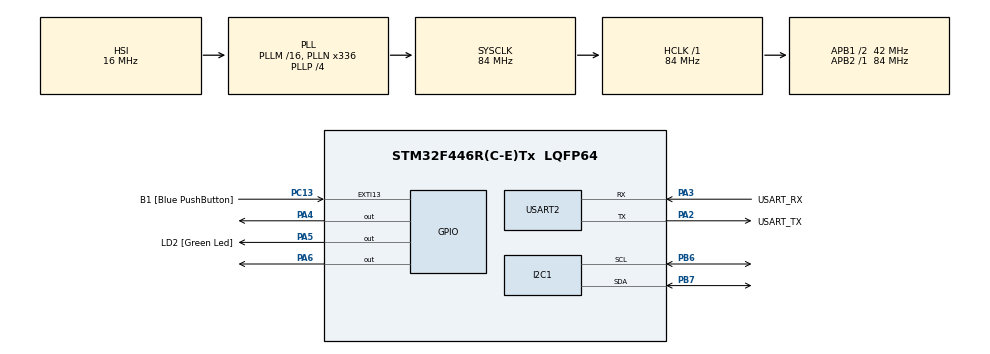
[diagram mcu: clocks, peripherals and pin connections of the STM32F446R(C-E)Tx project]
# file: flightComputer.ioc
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Mcu.Family=STM32F4
Mcu.Name=STM32F446R(C-E)Tx
Mcu.Package=LQFP64
NVIC.PriorityGroup=NVIC_PRIORITYGROUP_0
PA13.GPIO_Label=TMS
PA13.Mode=Serial_Wire
PA13.Signal=SYS_JTMS-SWDIO
PA14.GPIO_Label=TCK
PA14.Mode=Serial_Wire
PA14.Signal=SYS_JTCK-SWCLK
PA2.GPIO_Label=USART_TX
PA2.Mode=Asynchronous
PA2.Signal=USART2_TX
PA3.GPIO_Label=USART_RX
PA3.Mode=Asynchronous
PA3.Signal=USART2_RX
PA4.Signal=GPIO_Output
PA5.GPIO_Label=LD2 [Green Led]
PA5.Signal=GPIO_Output
PA6.Signal=GPIO_Output
PB3.GPIO_Label=SWO
PB3.Signal=SYS_JTDO-SWO
PB6.Mode=I2C
PB6.Signal=I2C1_SCL
PB7.Mode=I2C
PB7.Signal=I2C1_SDA
PC13.GPIO_Label=B1 [Blue PushButton]
PC13.GPIO_ModeDefaultEXTI=GPIO_MODE_IT_FALLING
PC13.Signal=GPXTI13
PC14-OSC32_IN.Mode=LSE-External-Oscillator
PC14-OSC32_IN.Signal=RCC_OSC32_IN
PC15-OSC32_OUT.Mode=LSE-External-Oscillator
PC15-OSC32_OUT.Signal=RCC_OSC32_OUT
PH0-OSC_IN.Mode=HSE-External-Oscillator
PH0-OSC_IN.Signal=RCC_OSC_IN
PH1-OSC_OUT.Mode=HSE-External-Oscillator
PH1-OSC_OUT.Signal=RCC_OSC_OUT
ProjectManager.HeapSize=0x200
ProjectManager.StackSize=0x400
ProjectManager.TargetToolchain=STM32CubeIDE
RCC.48MHZClocksFreq_Value=84000000
RCC.AHBFreq_Value=84000000
RCC.APB1CLKDivider=RCC_HCLK_DIV2
RCC.APB1Freq_Value=42000000
RCC.APB1TimFreq_Value=84000000
RCC.APB2Freq_Value=84000000
RCC.APB2TimFreq_Value=84000000
RCC.CortexFreq_Value=84000000
RCC.FLatency-AdvancedSettings=FLASH_LATENCY_2
RCC.HCLKFreq_Value=84000000
RCC.HSE_VALUE=8000000
RCC.HSI_VALUE=16000000
RCC.PLLN=336
RCC.PLLP=RCC_PLLP_DIV4
RCC.SYSCLKFreq_VALUE=84000000
RCC.SYSCLKSource=RCC_SYSCLKSOURCE_PLLCLK
RCC.USBFreq_Value=168000000
RCC.VCOOutputFreq_Value=336000000
USART2.VirtualMode=VM_ASYNC
board=NUCLEO-F446RE

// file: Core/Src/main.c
/* USER CODE BEGIN Header */
/**
  ******************************************************************************
  * @file           : main.c
  * @brief          : Main program body
  ******************************************************************************
  * @attention
  *
  * Copyright (c) 2025 STMicroelectronics.
  * All rights reserved.
  *
  * This software is licensed under terms that can be found in the LICENSE file
  * in the root directory of this software component.
  * If no LICENSE file comes with this software, it is provided AS-IS.
  *
  ******************************************************************************
  */
/* USER CODE END Header */
#include "main.h"
     // For I2C communication

/* USER CODE BEGIN Includes */
#include "yrt_ms5611.h"  // Barometer driver
#include "bno055.h"      // IMU driver
#include "stdio.h"       // For printf (UART debugging)
#include "usart.h"       // For UART
#include "i2c.h"
/* USER CODE END Includes */

I2C_HandleTypeDef hi2c1;

UART_HandleTypeDef huart2;

/* USER CODE BEGIN PV */
typedef enum {
    FIRING_STATE,
    LIFTOFF_STATE,
    ASCENDING_STATE,
    APOGEE_STATE,
    FALLOFF_STATE
} FlightState;

FlightState currentState = FIRING_STATE;
float previousAltitude = 0.0, currentAltitude, verticalVelocity;
/* USER CODE END PV */

void SystemClock_Config(void);
static void MX_GPIO_Init(void);
static void MX_USART2_UART_Init(void);
static void MX_I2C1_Init(void);

int main(void)
{

  /* MCU Configuration--------------------------------------------------------*/

  /* Reset of all peripherals, Initializes the Flash interface and the Systick. */
  HAL_Init();

  /* Configure the system clock */
  SystemClock_Config();

  /* Initialize all configured peripherals */
  MX_GPIO_Init();
  MX_USART2_UART_Init();
  MX_I2C1_Init();
  /* USER CODE BEGIN 2 */
  initSensors();
  /* USER CODE END 2 */

  /* Infinite loop */
  /* USER CODE BEGIN WHILE */
  while (1) {
      currentAltitude = MS5611_ReadAltitude();
      verticalVelocity = currentAltitude - previousAltitude;

      switch (currentState) {
          case FIRING_STATE:
              if (currentAltitude > 10.0) { // Detect liftoff
                  currentState = LIFTOFF_STATE;
                  printf("Liftoff detected!\r\n");
              }
              break;

          case LIFTOFF_STATE:
              if (verticalVelocity > 0.1) { // Ascending
                  currentState = ASCENDING_STATE;
                  printf("Rocket is ascending.\r\n");
              }
              break;

          case ASCENDING_STATE:
              if (verticalVelocity <= 0.0) { // Apogee detected
                  currentState = APOGEE_STATE;
                  HAL_GPIO_WritePin(GPIOA, GPIO_PIN_4, GPIO_PIN_SET); // Deploy drift parachute
                  printf("Apogee reached. Drift parachute deployed!\r\n");
              }
              break;

          case APOGEE_STATE:
              if (currentAltitude < 300.0) { // Main parachute deployment threshold
                  currentState = FALLOFF_STATE;
                  HAL_GPIO_WritePin(GPIOB, GPIO_PIN_6, GPIO_PIN_SET); // Deploy main parachute
                  printf("Main parachute deployed!\r\n");
              }
              break;

          case FALLOFF_STATE:
              // Add landing detection logic if needed
              printf("Rocket is falling.\r\n");
              break;
      }

      previousAltitude = currentAltitude;
      osDelay(100); // Delay for sensor updates
  }
  /* USER CODE END WHILE */

    /* USER CODE END WHILE */

  }
}

void SystemClock_Config(void)
{
  RCC_OscInitTypeDef RCC_OscInitStruct = {0};
  RCC_ClkInitTypeDef RCC_ClkInitStruct = {0};

  /** Configure the main internal regulator output voltage
  */
  __HAL_RCC_PWR_CLK_ENABLE();
  __HAL_PWR_VOLTAGESCALING_CONFIG(PWR_REGULATOR_VOLTAGE_SCALE3);

  /** Initializes the RCC Oscillators according to the specified parameters
  * in the RCC_OscInitTypeDef structure.
  */
  RCC_OscInitStruct.OscillatorType = RCC_OSCILLATORTYPE_HSI;
  RCC_OscInitStruct.HSIState = RCC_HSI_ON;
  RCC_OscInitStruct.HSICalibrationValue = RCC_HSICALIBRATION_DEFAULT;
  RCC_OscInitStruct.PLL.PLLState = RCC_PLL_ON;
  RCC_OscInitStruct.PLL.PLLSource = RCC_PLLSOURCE_HSI;
  RCC_OscInitStruct.PLL.PLLM = 16;
  RCC_OscInitStruct.PLL.PLLN = 336;
  RCC_OscInitStruct.PLL.PLLP = RCC_PLLP_DIV4;
  RCC_OscInitStruct.PLL.PLLQ = 2;
  RCC_OscInitStruct.PLL.PLLR = 2;
  if (HAL_RCC_OscConfig(&RCC_OscInitStruct) != HAL_OK)
  {
    Error_Handler();
  }

  /** Initializes the CPU, AHB and APB buses clocks
  */
  RCC_ClkInitStruct.ClockType = RCC_CLOCKTYPE_HCLK|RCC_CLOCKTYPE_SYSCLK
                              |RCC_CLOCKTYPE_PCLK1|RCC_CLOCKTYPE_PCLK2;
  RCC_ClkInitStruct.SYSCLKSource = RCC_SYSCLKSOURCE_PLLCLK;
  RCC_ClkInitStruct.AHBCLKDivider = RCC_SYSCLK_DIV1;
  RCC_ClkInitStruct.APB1CLKDivider = RCC_HCLK_DIV2;
  RCC_ClkInitStruct.APB2CLKDivider = RCC_HCLK_DIV1;

  if (HAL_RCC_ClockConfig(&RCC_ClkInitStruct, FLASH_LATENCY_2) != HAL_OK)
  {
    Error_Handler();
  }
}

static void MX_I2C1_Init(void)
{

  hi2c1.Instance = I2C1;
  hi2c1.Init.ClockSpeed = 100000;
  hi2c1.Init.DutyCycle = I2C_DUTYCYCLE_2;
  hi2c1.Init.OwnAddress1 = 0;
  hi2c1.Init.AddressingMode = I2C_ADDRESSINGMODE_7BIT;
  hi2c1.Init.DualAddressMode = I2C_DUALADDRESS_DISABLE;
  hi2c1.Init.OwnAddress2 = 0;
  hi2c1.Init.GeneralCallMode = I2C_GENERALCALL_DISABLE;
  hi2c1.Init.NoStretchMode = I2C_NOSTRETCH_DISABLE;
  if (HAL_I2C_Init(&hi2c1) != HAL_OK)
  {
    Error_Handler();
  }

}

static void MX_USART2_UART_Init(void)
{

  huart2.Instance = USART2;
  huart2.Init.BaudRate = 115200;
  huart2.Init.WordLength = UART_WORDLENGTH_8B;
  huart2.Init.StopBits = UART_STOPBITS_1;
  huart2.Init.Parity = UART_PARITY_NONE;
  huart2.Init.Mode = UART_MODE_TX_RX;
  huart2.Init.HwFlowCtl = UART_HWCONTROL_NONE;
  huart2.Init.OverSampling = UART_OVERSAMPLING_16;
  if (HAL_UART_Init(&huart2) != HAL_OK)
  {
    Error_Handler();
  }

}

static void MX_GPIO_Init(void)
{
  GPIO_InitTypeDef GPIO_InitStruct = {0};

  /* GPIO Ports Clock Enable */
  __HAL_RCC_GPIOC_CLK_ENABLE();
  __HAL_RCC_GPIOH_CLK_ENABLE();
  __HAL_RCC_GPIOA_CLK_ENABLE();
  __HAL_RCC_GPIOB_CLK_ENABLE();

  /*Configure GPIO pin Output Level */
  HAL_GPIO_WritePin(GPIOA, GPIO_PIN_4|LD2_Pin|GPIO_PIN_6, GPIO_PIN_RESET);

  /*Configure GPIO pin : B1_Pin */
  GPIO_InitStruct.Pin = B1_Pin;
  GPIO_InitStruct.Mode = GPIO_MODE_IT_FALLING;
  GPIO_InitStruct.Pull = GPIO_NOPULL;
  HAL_GPIO_Init(B1_GPIO_Port, &GPIO_InitStruct);

  /*Configure GPIO pins : PA4 LD2_Pin PA6 */
  GPIO_InitStruct.Pin = GPIO_PIN_4|LD2_Pin|GPIO_PIN_6;
  GPIO_InitStruct.Mode = GPIO_MODE_OUTPUT_PP;
  GPIO_InitStruct.Pull = GPIO_NOPULL;
  GPIO_InitStruct.Speed = GPIO_SPEED_FREQ_LOW;
  HAL_GPIO_Init(GPIOA, &GPIO_InitStruct);

}

/* USER CODE BEGIN 4 */
void initSensors() {
    // Initialize the barometer
    if (MS5611_Init() != HAL_OK) {
        printf("MS5611 Initialization Failed!\r\n");
    } else {
        printf("MS5611 Initialized Successfully!\r\n");
    }

    // Initialize the IMU
    if (BNO055_Init() != HAL_OK) {
        printf("BNO055 Initialization Failed!\r\n");
    } else {
        printf("BNO055 Initialized Successfully!\r\n");
    }
}

void deployDriftParachute() {
    HAL_GPIO_WritePin(GPIOA, GPIO_PIN_4, GPIO_PIN_SET);  // Activate drift parachute
    printf("Drift parachute deployed!\r\n");
}

void deployMainParachute() {
    HAL_GPIO_WritePin(GPIOB, GPIO_PIN_6, GPIO_PIN_SET);  // Activate main parachute
    printf("Main parachute deployed!\r\n");
}
/* USER CODE END 4 */

void Error_Handler(void)
{
  __disable_irq();
  while (1)
  {
  }
}
